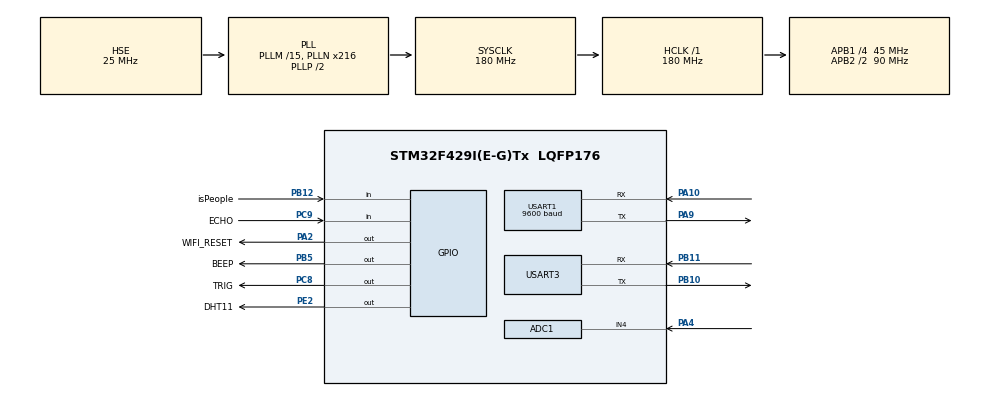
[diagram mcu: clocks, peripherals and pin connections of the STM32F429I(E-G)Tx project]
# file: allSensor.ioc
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ADC1.Channel-0\#ChannelRegularConversion=ADC_CHANNEL_4
ADC1.NbrOfConversionFlag=1
ADC1.Rank-0\#ChannelRegularConversion=1
ADC1.SamplingTime-0\#ChannelRegularConversion=ADC_SAMPLETIME_3CYCLES
ADC1.master=1
FREERTOS.Tasks01=HR04Task,-1,128,StartHR04Task,Default,NULL,Dynamic,NULL,NULL;DHT11Task,2,128,StartDHT11Task,Default,NULL,Dynamic,NULL,NULL;lightTask03,-3,128,StartLightTask03,Default,NULL,Dynamic,NULL,NULL;peopleTask04,-3,128,StartPeopleTask04,Default,NULL,Dynamic,NULL,NULL
Mcu.Family=STM32F4
Mcu.Name=STM32F429I(E-G)Tx
Mcu.Package=LQFP176
NVIC.PriorityGroup=NVIC_PRIORITYGROUP_4
PA10.Mode=Asynchronous
PA10.Signal=USART1_RX
PA2.GPIO_Label=WIFI_RESET
PA2.Signal=GPIO_Output
PA4.Signal=ADCx_IN4
PA9.Mode=Asynchronous
PA9.Signal=USART1_TX
PB10.Mode=Asynchronous
PB10.Signal=USART3_TX
PB11.Mode=Asynchronous
PB11.Signal=USART3_RX
PB12.GPIO_Label=isPeople
PB12.Signal=GPIO_Input
PB5.GPIO_Label=BEEP
PB5.GPIO_PuPd=GPIO_PULLUP
PB5.Signal=GPIO_Output
PC8.GPIO_Label=TRIG
PC8.GPIO_PuPd=GPIO_PULLUP
PC8.Signal=GPIO_Output
PC9.GPIO_Label=ECHO
PC9.GPIO_PuPd=GPIO_PULLUP
PC9.Signal=GPIO_Input
PE2.GPIO_Label=DHT11
PE2.GPIO_PuPd=GPIO_PULLUP
PE2.Signal=GPIO_Output
PH0/OSC_IN.Mode=HSE-External-Oscillator
PH0/OSC_IN.Signal=RCC_OSC_IN
PH1/OSC_OUT.Mode=HSE-External-Oscillator
PH1/OSC_OUT.Signal=RCC_OSC_OUT
ProjectManager.HeapSize=0x200
ProjectManager.StackSize=0x400
ProjectManager.TargetToolchain=MDK-ARM V5.27
RCC.48MHZClocksFreq_Value=90000000
RCC.AHBFreq_Value=180000000
RCC.APB1CLKDivider=RCC_HCLK_DIV4
RCC.APB1Freq_Value=45000000
RCC.APB1TimFreq_Value=90000000
RCC.APB2CLKDivider=RCC_HCLK_DIV2
RCC.APB2Freq_Value=90000000
RCC.APB2TimFreq_Value=180000000
RCC.CortexFreq_Value=180000000
RCC.HCLKFreq_Value=180000000
RCC.HSE_VALUE=25000000
RCC.HSI_VALUE=16000000
RCC.LSE_VALUE=32768
RCC.PLLM=15
RCC.PLLN=216
RCC.PLLSourceVirtual=RCC_PLLSOURCE_HSE
RCC.SYSCLKFreq_VALUE=180000000
RCC.SYSCLKSource=RCC_SYSCLKSOURCE_PLLCLK
RCC.VCOOutputFreq_Value=360000000
SH.ADCx_IN4.0=ADC1_IN4,IN4
TIM6.Prescaler=89
USART1.BaudRate=9600
USART1.VirtualMode=VM_ASYNC
USART3.VirtualMode=VM_ASYNC
VP_FREERTOS_VS_CMSIS_V1.Mode=CMSIS_V1
VP_TIM6_VS_ClockSourceINT.Mode=Enable_Timer
board=custom

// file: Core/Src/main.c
/* USER CODE BEGIN Header */
/**
  ******************************************************************************
  * @file           : main.c
  * @brief          : Main program body
  ******************************************************************************
  * @attention
  *
  * <h2><center>&copy; Copyright (c) 2020 STMicroelectronics.
  * All rights reserved.</center></h2>
  *
  * This software component is licensed by ST under BSD 3-Clause license,
  * the "License"; You may not use this file except in compliance with the
  * License. You may obtain a copy of the License at:
  *                        opensource.org/licenses/BSD-3-Clause
  *
  ******************************************************************************
  */
/* USER CODE END Header */
#include "main.h"
#include "cmsis_os.h"
#include "adc.h"
#include "tim.h"
#include "usart.h"
#include "gpio.h"

/* USER CODE BEGIN Includes */
#include "stdio.h"
#include "delay.h"
/* USER CODE END Includes */

void SystemClock_Config(void);
void MX_FREERTOS_Init(void);

int main(void)
{

  /* MCU Configuration--------------------------------------------------------*/

  /* Reset of all peripherals, Initializes the Flash interface and the Systick. */
  HAL_Init();

  /* Configure the system clock */
  SystemClock_Config();

  /* Initialize all configured peripherals */
  MX_GPIO_Init();
  MX_USART1_UART_Init();
  MX_TIM6_Init();
  MX_ADC1_Init();
  MX_USART3_UART_Init();
  /* USER CODE BEGIN 2 */
	printf("��aaa��\r\n");
  /* USER CODE END 2 */

  /* Call init function for freertos objects (in freertos.c) */
  MX_FREERTOS_Init();
  /* Start scheduler */
  osKernelStart();

  /* We should never get here as control is now taken by the scheduler */
  /* Infinite loop */
  /* USER CODE BEGIN WHILE */
  while (1)
  {
		//printf("test\r\n");
		//Delay_ms(1000);
    /* USER CODE END WHILE */

  }
}

void SystemClock_Config(void)
{
  RCC_OscInitTypeDef RCC_OscInitStruct = {0};
  RCC_ClkInitTypeDef RCC_ClkInitStruct = {0};

  /** Configure the main internal regulator output voltage
  */
  __HAL_RCC_PWR_CLK_ENABLE();
  __HAL_PWR_VOLTAGESCALING_CONFIG(PWR_REGULATOR_VOLTAGE_SCALE1);
  /** Initializes the RCC Oscillators according to the specified parameters
  * in the RCC_OscInitTypeDef structure.
  */
  RCC_OscInitStruct.OscillatorType = RCC_OSCILLATORTYPE_HSE;
  RCC_OscInitStruct.HSEState = RCC_HSE_ON;
  RCC_OscInitStruct.PLL.PLLState = RCC_PLL_ON;
  RCC_OscInitStruct.PLL.PLLSource = RCC_PLLSOURCE_HSE;
  RCC_OscInitStruct.PLL.PLLM = 15;
  RCC_OscInitStruct.PLL.PLLN = 216;
  RCC_OscInitStruct.PLL.PLLP = RCC_PLLP_DIV2;
  RCC_OscInitStruct.PLL.PLLQ = 4;
  if (HAL_RCC_OscConfig(&RCC_OscInitStruct) != HAL_OK)
  {
    Error_Handler();
  }
  /** Activate the Over-Drive mode
  */
  if (HAL_PWREx_EnableOverDrive() != HAL_OK)
  {
    Error_Handler();
  }
  /** Initializes the CPU, AHB and APB buses clocks
  */
  RCC_ClkInitStruct.ClockType = RCC_CLOCKTYPE_HCLK|RCC_CLOCKTYPE_SYSCLK
                              |RCC_CLOCKTYPE_PCLK1|RCC_CLOCKTYPE_PCLK2;
  RCC_ClkInitStruct.SYSCLKSource = RCC_SYSCLKSOURCE_PLLCLK;
  RCC_ClkInitStruct.AHBCLKDivider = RCC_SYSCLK_DIV1;
  RCC_ClkInitStruct.APB1CLKDivider = RCC_HCLK_DIV4;
  RCC_ClkInitStruct.APB2CLKDivider = RCC_HCLK_DIV2;

  if (HAL_RCC_ClockConfig(&RCC_ClkInitStruct, FLASH_LATENCY_5) != HAL_OK)
  {
    Error_Handler();
  }
}

void Error_Handler(void)
{
}

/************************ (C) COPYRIGHT STMicroelectronics *****END OF FILE****/

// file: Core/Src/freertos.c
/* USER CODE BEGIN Header */
/**
  ******************************************************************************
  * File Name          : freertos.c
  * Description        : Code for freertos applications
  ******************************************************************************
  * @attention
  *
  * <h2><center>&copy; Copyright (c) 2020 STMicroelectronics.
  * All rights reserved.</center></h2>
  *
  * This software component is licensed by ST under Ultimate Liberty license
  * SLA0044, the "License"; You may not use this file except in compliance with
  * the License. You may obtain a copy of the License at:
  *                             www.st.com/SLA0044
  *
  ******************************************************************************
  */
/* USER CODE END Header */

#include "FreeRTOS.h"
#include "task.h"
#include "main.h"
#include "cmsis_os.h"

/* USER CODE BEGIN Includes */
#include "stdio.h"
#include "hr04.h"
#include "dht11.h"
#include "light.h"
#include "main.h"
/* USER CODE END Includes */

osThreadId HR04TaskHandle;
osThreadId DHT11TaskHandle;
osThreadId lightTask03Handle;
osThreadId peopleTask04Handle;

void StartHR04Task(void const * argument);
void StartDHT11Task(void const * argument);
void StartLightTask03(void const * argument);
void StartPeopleTask04(void const * argument);

void MX_FREERTOS_Init(void); /* (MISRA C 2004 rule 8.1) */

/* GetIdleTaskMemory prototype (linked to static allocation support) */
void vApplicationGetIdleTaskMemory( StaticTask_t **ppxIdleTaskTCBBuffer, StackType_t **ppxIdleTaskStackBuffer, uint32_t *pulIdleTaskStackSize );

/* USER CODE BEGIN GET_IDLE_TASK_MEMORY */
static StaticTask_t xIdleTaskTCBBuffer;
static StackType_t xIdleStack[configMINIMAL_STACK_SIZE];

void vApplicationGetIdleTaskMemory( StaticTask_t **ppxIdleTaskTCBBuffer, StackType_t **ppxIdleTaskStackBuffer, uint32_t *pulIdleTaskStackSize )
{
  *ppxIdleTaskTCBBuffer = &xIdleTaskTCBBuffer;
  *ppxIdleTaskStackBuffer = &xIdleStack[0];
  *pulIdleTaskStackSize = configMINIMAL_STACK_SIZE;
  /* place for user code */
}
/* USER CODE END GET_IDLE_TASK_MEMORY */

void MX_FREERTOS_Init(void) {

  /* Create the thread(s) */
  /* definition and creation of HR04Task */
  osThreadDef(HR04Task, StartHR04Task, osPriorityBelowNormal, 0, 128);
  HR04TaskHandle = osThreadCreate(osThread(HR04Task), NULL);

  /* definition and creation of DHT11Task */
  osThreadDef(DHT11Task, StartDHT11Task, osPriorityHigh, 0, 128);
  DHT11TaskHandle = osThreadCreate(osThread(DHT11Task), NULL);

  /* definition and creation of lightTask03 */
  osThreadDef(lightTask03, StartLightTask03, osPriorityIdle, 0, 128);
  lightTask03Handle = osThreadCreate(osThread(lightTask03), NULL);

  /* definition and creation of peopleTask04 */
  osThreadDef(peopleTask04, StartPeopleTask04, osPriorityIdle, 0, 128);
  peopleTask04Handle = osThreadCreate(osThread(peopleTask04), NULL);

}

void StartHR04Task(void const * argument)
{
  /* USER CODE BEGIN StartHR04Task */
	double dist=0.0;
	//int i;
	printf("超声波传感器测试开始！\r\n");
  /* Infinite loop */
  for(;;)
  {
		printf("超声波传感器测试开始！\r\n");
    dist = Hcsr04_StateRead();
		printf("超声波测试距离是 :%f cm\r\n",dist);
		if(dist <= 20){
			HAL_GPIO_WritePin(BEEP_GPIO_Port,BEEP_Pin,GPIO_PIN_SET);
		}
		else{
			HAL_GPIO_WritePin(BEEP_GPIO_Port,BEEP_Pin,GPIO_PIN_RESET);
		}
		osDelay(2000);
  }
  /* USER CODE END StartHR04Task */
}

void StartDHT11Task(void const * argument)
{
  /* USER CODE BEGIN StartDHT11Task */
	DHT11_Data_TypeDef DHT11_Data;
	printf("DHT11高精度温湿度传感器数据读取。\r\n");
	DHT11_Init();
  /* Infinite loop */
  for(;;)
  {

		printf("dht11传感器测试开始！\r\n");
    if(DHT11_Read_TempAndHumidity(&DHT11_Data)==SUCCESS)
    {
      printf("读取DHT11成功!-->湿度为%.1f ％RH ，温度为 %.1f℃ \n",DHT11_Data.humidity,DHT11_Data.temperature);
    }
    else
    {
      printf("读取DHT11信息失败\n");
    }
    //HAL_Delay(3000);
		//vTaskDelay(100);
		osDelay(2000);
  }
  /* USER CODE END StartDHT11Task */
}

void StartLightTask03(void const * argument)
{
  /* USER CODE BEGIN StartLightTask03 */
	int light = 0;
  /* Infinite loop */
  for(;;)
  {
		printf("光照传感器测试开始！\r\n");
		light = get_light();
		printf("光照强度 :%d\r\n",light);
    osDelay(2000);
  }
  /* USER CODE END StartLightTask03 */
}

void StartPeopleTask04(void const * argument)
{
  /* USER CODE BEGIN StartPeopleTask04 */
	int isPeople = 0;
  /* Infinite loop */
  for(;;)
  {
		printf("人体红外传感器测试开始！\r\n");
		if(HAL_GPIO_ReadPin(isPeople_GPIO_Port,isPeople_Pin)==1)
		{
			isPeople = 1;
		}
		else
		{
			isPeople = 0;
		}
		printf("是否有人 :%d\r\n",isPeople);
    osDelay(2000);
  }
  /* USER CODE END StartPeopleTask04 */
}

/************************ (C) COPYRIGHT STMicroelectronics *****END OF FILE****/
